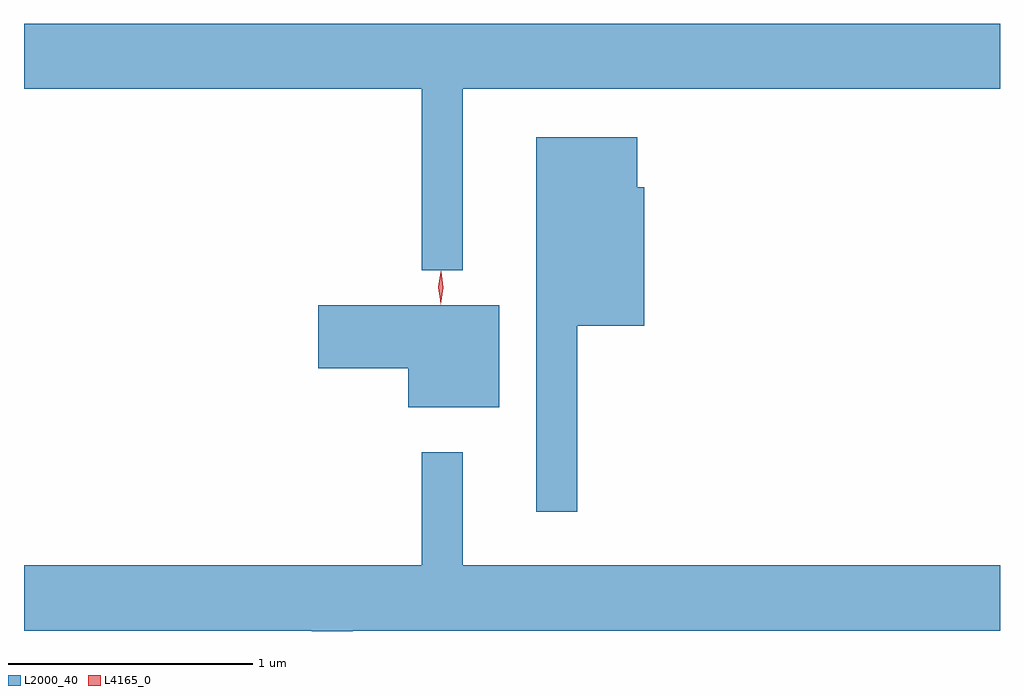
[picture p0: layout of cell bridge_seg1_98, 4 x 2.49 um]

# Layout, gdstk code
import gdstk
lib = gdstk.Library(unit=1e-6, precision=1e-09)
def P(c, l, *ps):  # polygons
    for p in ps: c.add(gdstk.Polygon(p, *l))
L2000_40 = (2000, 40)
L4165_0 = (4165, 0)

bridge_seg1_98 = lib.new_cell('bridge_seg1_98')
P(bridge_seg1_98, L2000_40, [(1263.729,857.396),(1265.931,857.396),(1265.931,857.664),(1261.931,857.664),(1261.931,857.396),(1263.561,857.396),(1263.561,856.653),(1263.729,856.653)],
  [(1264.199,856.426),(1264.474,856.426),(1264.474,856.994),(1264.444,856.994),(1264.444,857.199),(1264.031,857.199),(1264.031,855.663),(1264.199,855.663)],
  [(1263.879,856.509),(1263.136,856.509),(1263.136,856.251),(1263.506,856.251),(1263.506,856.091),(1263.879,856.091)],
  [(1263.279,855.176),(1265.931,855.176),(1265.931,855.444),(1263.729,855.444),(1263.729,855.908),(1263.561,855.908),(1263.561,855.444),(1261.931,855.444),(1261.931,855.176),(1263.111,855.176),(1263.111,855.173),(1263.279,855.173)])
P(bridge_seg1_98, L4165_0, [(1263.639,856.514),(1263.639,856.514),(1263.63,856.582),(1263.64,856.65),(1263.641,856.65),(1263.641,856.65),(1263.65,856.582),(1263.64,856.514)],
  [(1263.638,856.52),(1263.638,856.52),(1263.628,856.584),(1263.638,856.646),(1263.638,856.647),(1263.638,856.646),(1263.648,856.584),(1263.638,856.52)])

lib.write_gds('bridge_seg1_98.gds')
